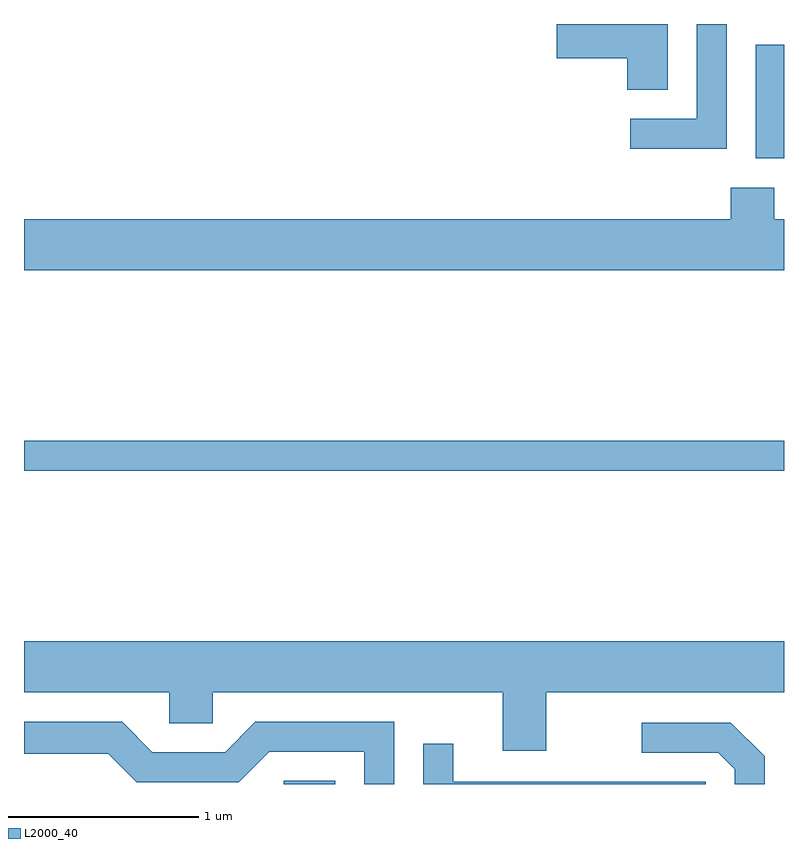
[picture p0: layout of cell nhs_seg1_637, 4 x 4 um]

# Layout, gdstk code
import gdstk
lib = gdstk.Library(unit=1e-6, precision=1e-09)
def R(c, l, rs):  # rectangles x0, y0, x1, y1
    for r in rs: c.add(gdstk.rectangle(r[:2], r[2:], *l))
def P(c, l, *ps):  # polygons
    for p in ps: c.add(gdstk.Polygon(p, *l))
L2000_40 = (2000, 40)

nhs_seg1_637 = lib.new_cell('nhs_seg1_637')
R(nhs_seg1_637, L2000_40, [(204.978,945.712,205.249,945.729), (203.611,947.361,207.611,947.519), (207.461,949.006,207.611,949.604)])
P(nhs_seg1_637, L2000_40, [(207.309,949.712),(207.151,949.712),(207.151,949.214),(206.803,949.214),(206.803,949.056),(207.309,949.056)],
  [(206.999,949.712),(206.416,949.712),(206.416,949.531),(206.786,949.531),(206.786,949.366),(206.999,949.366)],
  [(207.611,948.684),(207.559,948.684),(207.559,948.849),(207.331,948.849),(207.331,948.684),(203.611,948.684),(203.611,948.416),(207.611,948.416)],
  [(206.359,946.196),(207.611,946.196),(207.611,946.464),(203.611,946.464),(203.611,946.196),(204.376,946.196),(204.376,946.031),(204.604,946.031),(204.604,946.196),(206.131,946.196),(206.131,945.886),(206.359,945.886)],
  [(205.559,946.039),(204.829,946.039),(204.669,945.879),(204.287,945.879),(204.127,946.039),(203.611,946.039),(203.611,945.871),(204.054,945.871),(204.204,945.721),(204.742,945.721),(204.902,945.881),(205.401,945.881),(205.401,945.712),(205.559,945.712)],
  [(207.509,945.857),(207.332,946.034),(206.863,946.034),(206.863,945.876),(207.264,945.876),(207.351,945.789),(207.351,945.712),(207.509,945.712)],
  [(207.199,945.724),(205.869,945.724),(205.869,945.923),(205.711,945.923),(205.711,945.712),(207.199,945.712)])

lib.write_gds('nhs_seg1_637.gds')
